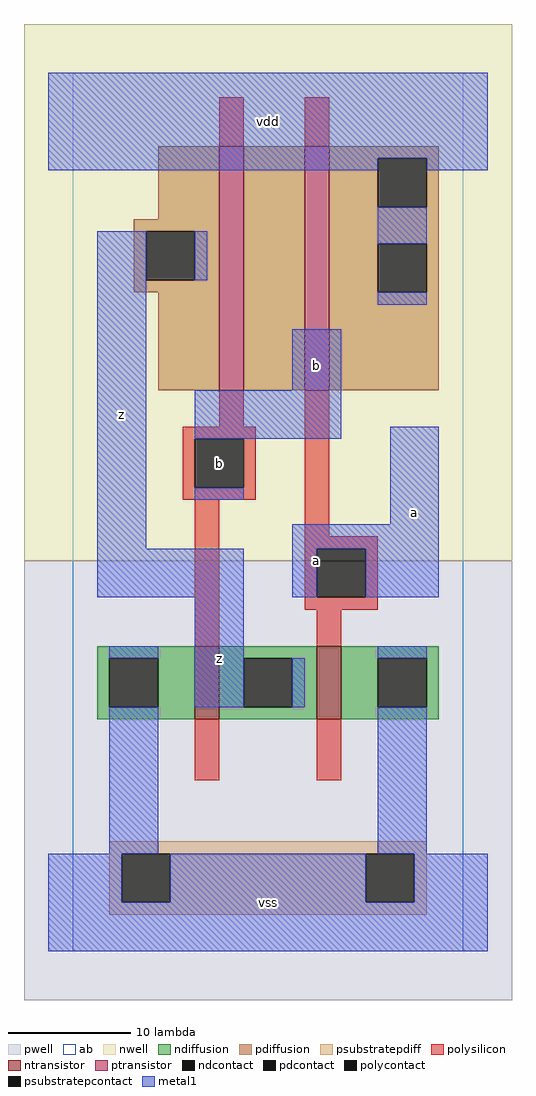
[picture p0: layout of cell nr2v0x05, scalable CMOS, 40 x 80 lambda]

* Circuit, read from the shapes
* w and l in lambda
.subckt nr2v0x05 a b vdd vss z
M1 z b vss vss nfet w=6 l=2
M2 vss a z vss nfet w=6 l=2
M3 n1 b z n2 pfet w=20 l=2
M4 vdd a n1 n2 pfet w=20 l=2
.ends

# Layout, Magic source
magic
tech scmos
<< ab >>
rect 0 0 32 72
<< pwell >>
rect -4 -4 36 32
<< nwell >>
rect -4 32 36 76
<< polysilicon >>
rect 12 66 14 70
rect 19 66 21 70
rect 12 43 14 46
rect 9 42 15 43
rect 9 38 10 42
rect 14 38 15 42
rect 9 37 15 38
rect 10 25 12 37
rect 19 34 21 46
rect 19 33 25 34
rect 19 29 20 33
rect 24 29 25 33
rect 19 28 25 29
rect 20 25 22 28
rect 10 14 12 19
rect 20 14 22 19
<< ndiffusion >>
rect 2 24 10 25
rect 2 20 3 24
rect 7 20 10 24
rect 2 19 10 20
rect 12 24 20 25
rect 12 20 14 24
rect 18 20 20 24
rect 12 19 20 20
rect 22 24 30 25
rect 22 20 25 24
rect 29 20 30 24
rect 22 19 30 20
<< pdiffusion >>
rect 7 60 12 66
rect 5 59 12 60
rect 5 55 6 59
rect 10 55 12 59
rect 5 54 12 55
rect 7 46 12 54
rect 14 46 19 66
rect 21 65 30 66
rect 21 61 25 65
rect 29 61 30 65
rect 21 58 30 61
rect 21 54 25 58
rect 29 54 30 58
rect 21 46 30 54
<< metal1 >>
rect -2 65 34 72
rect -2 64 25 65
rect 29 64 34 65
rect 2 33 6 59
rect 10 55 11 59
rect 25 58 29 61
rect 25 53 29 54
rect 18 46 22 51
rect 10 42 22 46
rect 10 37 14 38
rect 26 35 30 43
rect 18 33 30 35
rect 2 29 14 33
rect 18 29 20 33
rect 24 29 30 33
rect 3 24 7 25
rect 10 20 14 29
rect 25 24 29 25
rect 18 20 19 24
rect 3 8 7 20
rect 25 8 29 20
rect -2 4 4 8
rect 8 4 24 8
rect 28 4 34 8
rect -2 0 34 4
<< ntransistor >>
rect 10 19 12 25
rect 20 19 22 25
<< ptransistor >>
rect 12 46 14 66
rect 19 46 21 66
<< polycontact >>
rect 10 38 14 42
rect 20 29 24 33
<< ndcontact >>
rect 3 20 7 24
rect 14 20 18 24
rect 25 20 29 24
<< pdcontact >>
rect 6 55 10 59
rect 25 61 29 65
rect 25 54 29 58
<< psubstratepcontact >>
rect 4 4 8 8
rect 24 4 28 8
<< psubstratepdiff >>
rect 3 8 29 9
rect 3 4 4 8
rect 8 4 24 8
rect 28 4 29 8
rect 3 3 29 4
<< labels >>
rlabel metal1 4 44 4 44 6 z
rlabel metal1 12 24 12 24 6 z
rlabel polycontact 12 40 12 40 6 b
rlabel metal1 16 4 16 4 6 vss
rlabel metal1 20 32 20 32 6 a
rlabel metal1 20 48 20 48 6 b
rlabel metal1 16 68 16 68 6 vdd
rlabel metal1 28 36 28 36 6 a
<< end >>
